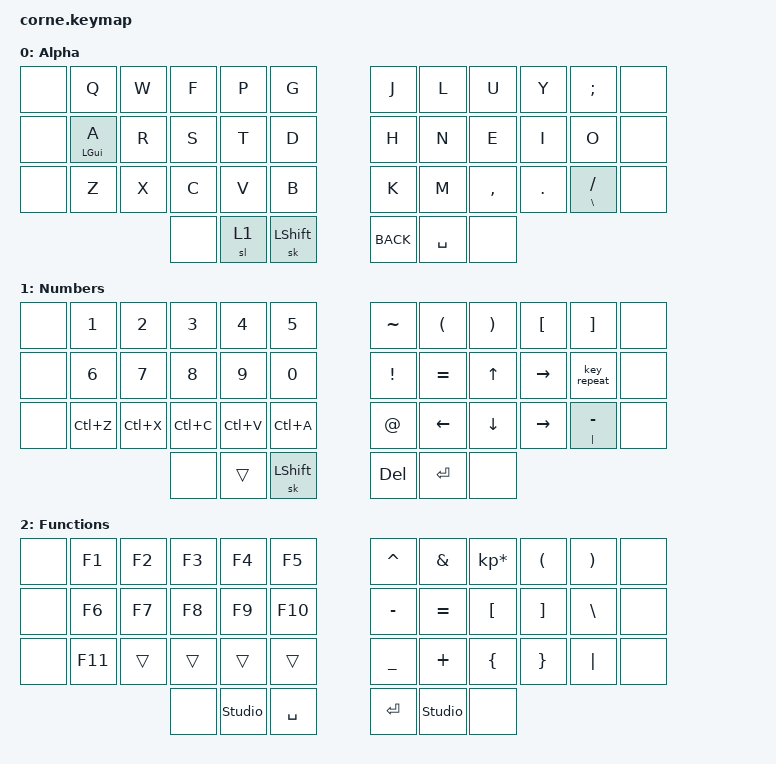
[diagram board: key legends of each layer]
/*
 * Copyright (c) 2020 The ZMK Contributors
 *
 * SPDX-License-Identifier: MIT
 */

#include <dt-bindings/led/led.h>
#include <dt-bindings/zmk/reset.h>
#include <behaviors.dtsi>
#include <dt-bindings/zmk/keys.h>

&led_strip { chain-length = <27>; };

/ {
    combos {
        compatible = "zmk,combos";

        Tab {
            bindings = <&kp TAB>;
            key-positions = <4 3>;
        };

        Esc {
            bindings = <&kp ESCAPE>;
            key-positions = <2 1>;
        };

        Functions {
            bindings = <&sl 1>;
            key-positions = <37 38>;
        };

        Control {
            bindings = <&kp LEFT_CONTROL>;
            key-positions = <13 14>;
        };

        Contol_Del {
            bindings = <&Control_Del>;
            key-positions = <25 26 39>;
        };

        Enter {
            bindings = <&kp ENTER>;
            key-positions = <16 15>;
        };

        Del {
            bindings = <&kp DEL>;
            key-positions = <5 4>;
        };

        Backspace {
            bindings = <&kp BACKSPACE>;
            key-positions = <17 16>;
        };
    };

    macros {
        Control_Del: Control_Del {
            compatible = "zmk,behavior-macro";
            #binding-cells = <0>;
            bindings =
                <&macro_press>,
                <&kp LEFT_CONTROL &kp DELETE>,
                <&macro_release>;

            label = "CONTROL_DEL";
        };

        Email: Email {
            compatible = "zmk,behavior-macro";
            #binding-cells = <0>;
            bindings = <&none &kp W &kp A &kp L &kp K &kp E &kp R &kp N &kp D &kp N7 &kp N6 &kp AT &kp H &kp O &kp T &kp M &kp A &kp I &kp L &kp DOT &kp C &kp O &kp M>;
            label = "EMAIL";
        };
    };

    keymap {
        compatible = "zmk,keymap";

        default_layer {
            display-name = "Alpha";

            // -----------------------------------------------------------------------------------------
            // |  TAB |  Q  |  W  |  E  |  R  |  T  |   |  Y  |  U   |  I  |  O  |  P  | BKSP |
            // | CTRL |  A  |  S  |  D  |  F  |  G  |   |  H  |  J   |  K  |  L  |  ;  |  '   |
            // | SHFT |  Z  |  X  |  C  |  V  |  B  |   |  N  |  M   |  ,  |  .  |  /  | ESC  |
            //                    | GUI | LWR | SPC |   | ENT | RSE  | ALT |

            bindings = <
&none  &kp Q           &kp W  &kp F  &kp P  &kp G             &kp J       &kp L      &kp U      &kp Y    &kp SEMICOLON        &none
&none  &mt LEFT_GUI A  &kp R  &kp S  &kp T  &kp D             &kp H       &kp N      &kp E      &kp I    &kp O                &none
&none  &kp Z           &kp X  &kp C  &kp V  &kp B             &kp K       &kp M      &kp COMMA  &kp DOT  &mt BACKSLASH SLASH  &none
                              &none  &sl 1  &sk LEFT_SHIFT    &kp K_BACK  &kp SPACE  &none
            >;
        };

        Numbers {
            display-name = "Numbers";

            // -----------------------------------------------------------------------------------------
            // |  TAB |  1  |  2  |  3  |  4  |  5  |   |  6  |  7  |  8  |  9  |  0  | BKSP |
            // | BTCLR| BT1 | BT2 | BT3 | BT4 | BT5 |   | LFT | DWN |  UP | RGT |     |      |
            // | SHFT |     |     |     |     |     |   |     |     |     |     |     |      |
            //                    | GUI |     | SPC |   | ENT |     | ALT |

            bindings = <
&none  &kp N1        &kp N2     &kp N3     &kp N4     &kp N5            &kp TILDE        &kp LEFT_PARENTHESIS  &kp RIGHT_PARENTHESIS  &kp LEFT_BRACKET  &kp RIGHT_BRACKET  &none
&none  &kp NUMBER_6  &kp N7     &kp N8     &kp N9     &kp N0            &kp EXCLAMATION  &kp EQUAL             &kp UP                 &kp RIGHT         &key_repeat        &none
&none  &kp LC(Z)     &kp LC(X)  &kp LC(C)  &kp LC(V)  &kp LC(A)         &kp AT           &kp LEFT_ARROW        &kp DOWN_ARROW         &kp RIGHT_ARROW   &mt PIPE MINUS     &none
                                &none      &trans     &sk LEFT_SHIFT    &kp DELETE       &kp ENTER             &none
            >;
        };

        Functions {
            display-name = "Functions";

            // -----------------------------------------------------------------------------------------
            // |  TAB |  !  |  @  |  #  |  $  |  %  |   |  ^  |  &  |  *  |  (  |  )  | BKSP |
            // | CTRL |     |     |     |     |     |   |  -  |  =  |  [  |  ]  |  \  |  `   |
            // | SHFT |     |     |     |     |     |   |  _  |  +  |  {  |  }  | "|" |  ~   |
            //                    | GUI |     | SPC |   | ENT |     | ALT |

            bindings = <
&none  &kp F1   &kp F2  &kp F3  &kp F4          &kp F5       &kp CARET  &kp AMPS        &kp KP_MULTIPLY  &kp LPAR  &kp RPAR  &none
&none  &kp F6   &kp F7  &kp F8  &kp F9          &kp F10      &kp MINUS  &kp EQUAL       &kp LBKT         &kp RBKT  &kp BSLH  &none
&none  &kp F11  &trans  &trans  &trans          &trans       &kp UNDER  &kp PLUS        &kp LBRC         &kp RBRC  &kp PIPE  &none
                        &none   &studio_unlock  &kp SPACE    &kp RET    &studio_unlock  &none
            >;
        };
    };
};
